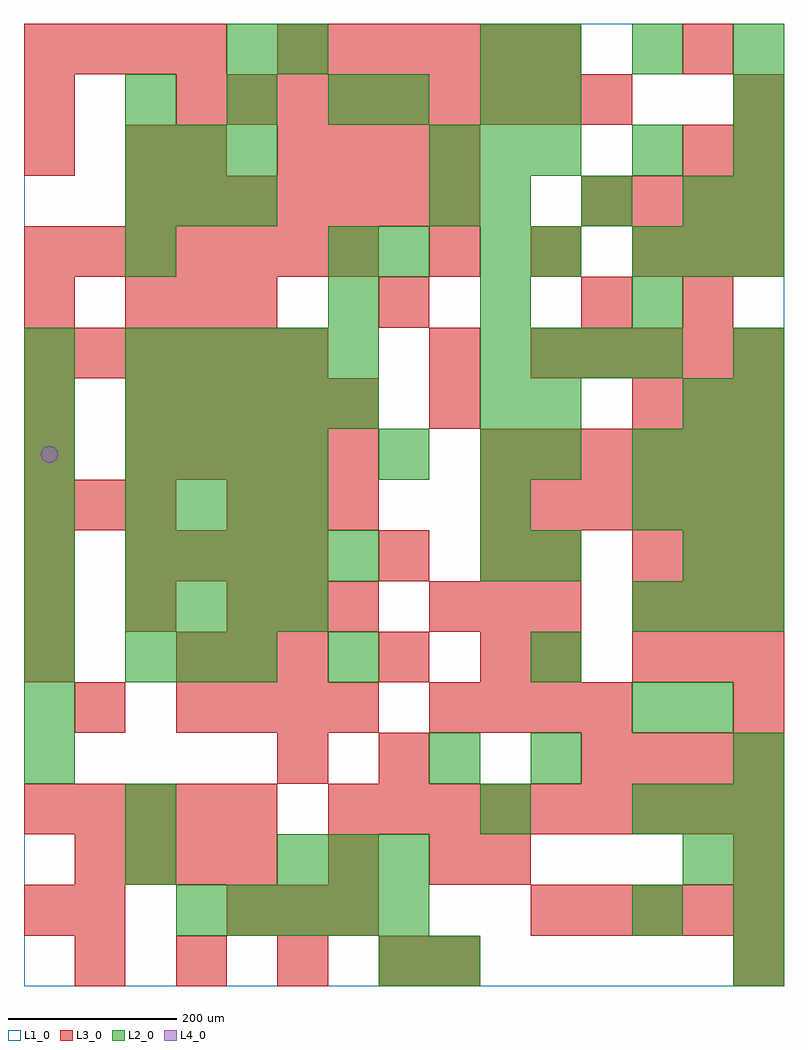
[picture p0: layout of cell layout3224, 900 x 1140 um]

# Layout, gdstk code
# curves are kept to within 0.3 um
import gdstk
lib = gdstk.Library(unit=1e-6, precision=1e-09)
def R(c, l, rs):  # rectangles x0, y0, x1, y1
    for r in rs: c.add(gdstk.rectangle(r[:2], r[2:], *l))
def A(c, l, x, y, w, h, nx, ny, dx, dy):  # array of equal rectangles
    R(c, l, [(x+i*dx, y+j*dy, x+i*dx+w, y+j*dy+h) for i in range(nx) for j in range(ny)])
def P(c, l, *ps):  # polygons
    for p in ps: c.add(gdstk.Polygon(p, *l))
L1_0 = (1, 0)
L2_0 = (2, 0)
L3_0 = (3, 0)
L4_0 = (4, 0)

layout3224 = lib.new_cell('layout3224')
R(layout3224, L1_0, [(0,0,900,1140)])
A(layout3224, L2_0, 840, 0, 60, 60, 1, 3, 0, 60)
A(layout3224, L2_0, 180, 60, 60, 60, 5, 1, 60, 0)
A(layout3224, L2_0, 300, 120, 60, 60, 3, 1, 60, 0)
A(layout3224, L2_0, 780, 120, 60, 60, 1, 4, 0, 180)
A(layout3224, L2_0, 720, 180, 60, 60, 3, 2, 60, 240)
A(layout3224, L2_0, 0, 240, 60, 60, 1, 9, 0, 60)
A(layout3224, L2_0, 600, 240, 60, 60, 1, 4, 0, 120)
A(layout3224, L2_0, 120, 360, 60, 60, 3, 2, 60, 540)
A(layout3224, L2_0, 120, 420, 60, 60, 4, 2, 60, 120)
A(layout3224, L2_0, 120, 480, 60, 60, 5, 2, 60, 180)
A(layout3224, L2_0, 540, 480, 60, 60, 1, 4, 0, 60)
A(layout3224, L2_0, 720, 540, 60, 60, 3, 2, 60, 60)
A(layout3224, L2_0, 120, 600, 60, 60, 4, 1, 60, 0)
A(layout3224, L2_0, 600, 660, 60, 60, 1, 3, 0, 180)
A(layout3224, L2_0, 120, 720, 60, 60, 5, 1, 60, 0)
A(layout3224, L2_0, 540, 720, 60, 60, 4, 1, 60, 0)
A(layout3224, L2_0, 360, 780, 60, 60, 3, 1, 180, 0)
A(layout3224, L2_0, 720, 840, 60, 60, 3, 1, 60, 0)
A(layout3224, L2_0, 540, 900, 60, 60, 3, 1, 120, 0)
A(layout3224, L2_0, 840, 900, 60, 60, 1, 3, 0, 60)
A(layout3224, L2_0, 120, 960, 60, 60, 3, 1, 60, 0)
A(layout3224, L2_0, 480, 960, 60, 60, 3, 1, 60, 0)
A(layout3224, L2_0, 120, 1020, 60, 60, 3, 1, 120, 0)
A(layout3224, L2_0, 600, 1080, 60, 60, 3, 1, 120, 0)
R(layout3224, L2_0, [(420,0,480,60), (480,0,540,60), (720,60,780,120), (120,120,180,180), (120,180,180,240), (540,180,600,240), (480,240,540,300), (840,240,900,300), (720,300,780,360), (360,360,420,420), (840,480,900,540), (420,600,480,660), (840,660,900,720), (840,720,900,780), (120,840,180,900), (360,840,420,900), (420,840,480,900), (540,840,600,900), (480,900,540,960), (720,960,780,1020), (420,1020,480,1080), (540,1020,600,1080), (240,1080,300,1140), (300,1080,360,1140), (540,1080,600,1140)])
A(layout3224, L3_0, 60, 0, 60, 60, 4, 1, 120, 0)
A(layout3224, L3_0, 240, 60, 60, 60, 3, 2, 60, 480)
A(layout3224, L3_0, 600, 60, 60, 60, 5, 2, 60, 660)
A(layout3224, L3_0, 60, 120, 60, 60, 4, 1, 60, 0)
A(layout3224, L3_0, 0, 180, 60, 60, 5, 1, 60, 0)
A(layout3224, L3_0, 360, 180, 60, 60, 9, 1, 60, 0)
A(layout3224, L3_0, 420, 240, 60, 60, 1, 3, 0, 120)
A(layout3224, L3_0, 660, 240, 60, 60, 4, 2, 60, 660)
A(layout3224, L3_0, 180, 300, 60, 60, 4, 1, 60, 0)
A(layout3224, L3_0, 480, 300, 60, 60, 4, 1, 60, 0)
A(layout3224, L3_0, 0, 360, 60, 60, 1, 3, 0, 120)
A(layout3224, L3_0, 180, 360, 60, 60, 3, 1, 60, 0)
A(layout3224, L3_0, 720, 360, 60, 60, 3, 3, 60, 60)
A(layout3224, L3_0, 0, 420, 60, 60, 3, 1, 120, 0)
A(layout3224, L3_0, 480, 420, 60, 60, 3, 1, 60, 0)
A(layout3224, L3_0, 120, 480, 60, 60, 4, 1, 60, 0)
A(layout3224, L3_0, 0, 540, 60, 60, 3, 1, 60, 0)
A(layout3224, L3_0, 540, 540, 60, 60, 6, 2, 60, 60)
A(layout3224, L3_0, 120, 600, 60, 60, 5, 2, 60, 60)
A(layout3224, L3_0, 720, 660, 60, 60, 3, 1, 60, 0)
A(layout3224, L3_0, 0, 720, 60, 60, 6, 1, 60, 0)
A(layout3224, L3_0, 120, 780, 60, 60, 3, 1, 60, 0)
A(layout3224, L3_0, 0, 840, 60, 60, 7, 1, 60, 0)
A(layout3224, L3_0, 480, 840, 60, 60, 3, 1, 120, 0)
A(layout3224, L3_0, 780, 840, 60, 60, 1, 3, 0, 120)
A(layout3224, L3_0, 120, 900, 60, 60, 7, 1, 60, 0)
A(layout3224, L3_0, 300, 960, 60, 60, 4, 1, 60, 0)
A(layout3224, L3_0, 180, 1020, 60, 60, 9, 1, 60, 0)
A(layout3224, L3_0, 0, 1080, 60, 60, 4, 1, 60, 0)
A(layout3224, L3_0, 300, 1080, 60, 60, 6, 1, 60, 0)
R(layout3224, L3_0, [(480,0,540,60), (840,0,900,60), (0,60,60,120), (60,60,120,120), (360,120,420,180), (480,120,540,180), (540,120,600,180), (840,120,900,180), (300,240,360,300), (60,300,120,360), (840,300,900,360), (540,360,600,420), (600,360,660,420), (300,420,360,480), (360,420,420,480), (540,480,600,540), (600,480,660,540), (0,660,60,720), (480,660,540,720), (480,720,540,780), (0,780,60,840), (420,780,480,840), (660,780,720,840), (780,780,840,840), (840,840,900,900), (0,960,60,1020), (120,960,180,1020), (180,960,240,1020), (840,960,900,1020), (0,1020,60,1080), (840,1020,900,1080)])
P(layout3224, L4_0, [(40,630),(39.239,633.827),(37.071,637.071),(33.827,639.239),(30,640),(26.173,639.239),(22.929,637.071),(20.761,633.827),(20,630),(20.761,626.173),(22.929,622.929),(26.173,620.761),(30,620),(33.827,620.761),(37.071,622.929),(39.239,626.173)])

lib.write_gds('layout3224.gds')
